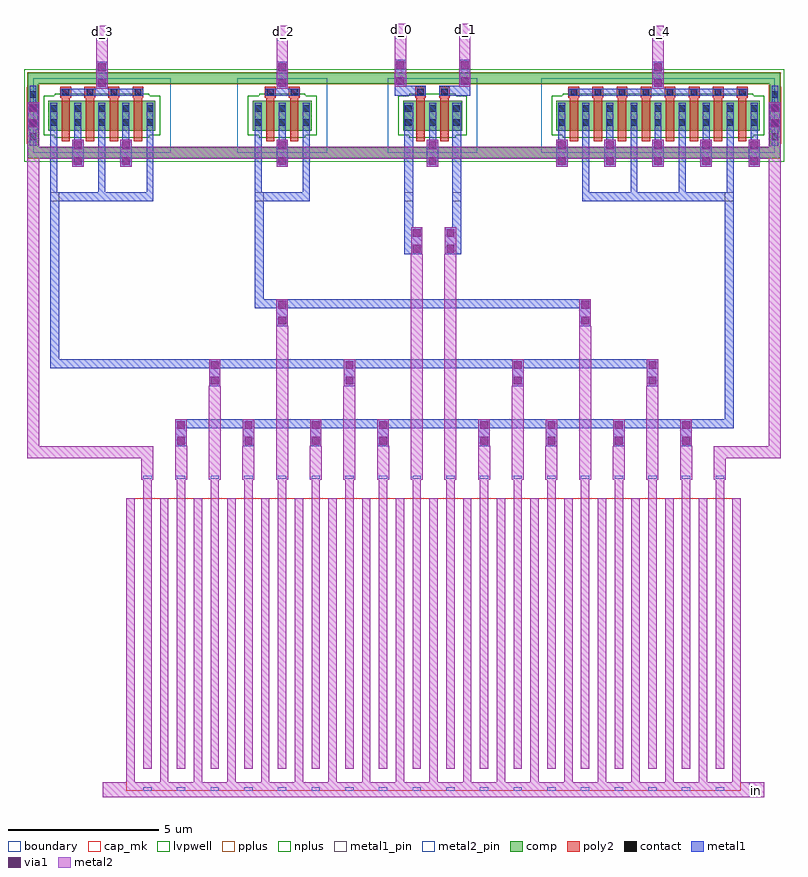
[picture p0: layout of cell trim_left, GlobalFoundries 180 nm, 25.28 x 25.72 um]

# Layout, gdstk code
import gdstk
lib = gdstk.Library(unit=1e-6, precision=1e-09)
def R(c, l, rs):  # rectangles x0, y0, x1, y1
    for r in rs: c.add(gdstk.rectangle(r[:2], r[2:], *l))
def A(c, l, x, y, w, h, nx, ny, dx, dy):  # array of equal rectangles
    R(c, l, [(x+i*dx, y+j*dy, x+i*dx+w, y+j*dy+h) for i in range(nx) for j in range(ny)])
boundary = (0, 0)
comp = (22, 0)
poly2 = (30, 0)
pplus = (31, 0)
nplus = (32, 0)
contact = (33, 0)
metal1 = (34, 0)
metal1_pin = (34, 10)
via1 = (35, 0)
metal2 = (36, 0)
metal2_pin = (36, 10)
cap_mk = (117, 5)
lvpwell = (204, 0)

trim_cap_left = lib.new_cell('trim_cap_left')
R(trim_cap_left, metal2, [(2.1,-0.72,3.5,-0.44), (2.1,-0.44,2.38,9), (2.1,-0.44,2.38,9), (3.22,-0.44,3.5,9), (3.22,-0.44,3.5,9), (2.66,0,2.94,9.75)])
R(trim_cap_left, metal2_pin, [(2.66,-0.72,2.94,-0.62), (2.66,9.65,2.94,9.75)])
R(trim_cap_left, cap_mk, [(2.1,-0.72,3.5,9)])
trim_cap_left.add(gdstk.Label('in', (2.8,9.7), layer=36, texttype=10))
trim_cap_left.add(gdstk.Label('out', (2.8,-0.67), layer=36, texttype=10))

trim_cap_array_left = lib.new_cell('trim_cap_array_left')
trim_cap_array_left.add(gdstk.Reference(trim_cap_left, (0,0)))
trim_cap_array_left.add(gdstk.Reference(trim_cap_left, (1.12,0)))
trim_cap_array_left.add(gdstk.Reference(trim_cap_left, (2.24,0)))
trim_cap_array_left.add(gdstk.Reference(trim_cap_left, (3.36,0)))
trim_cap_array_left.add(gdstk.Reference(trim_cap_left, (4.48,0)))
trim_cap_array_left.add(gdstk.Reference(trim_cap_left, (5.6,0)))
trim_cap_array_left.add(gdstk.Reference(trim_cap_left, (6.72,0)))
trim_cap_array_left.add(gdstk.Reference(trim_cap_left, (7.84,0)))
trim_cap_array_left.add(gdstk.Reference(trim_cap_left, (8.96,0)))
trim_cap_array_left.add(gdstk.Reference(trim_cap_left, (10.08,0)))
trim_cap_array_left.add(gdstk.Reference(trim_cap_left, (11.2,0)))
trim_cap_array_left.add(gdstk.Reference(trim_cap_left, (12.32,0)))
trim_cap_array_left.add(gdstk.Reference(trim_cap_left, (13.44,0)))
trim_cap_array_left.add(gdstk.Reference(trim_cap_left, (14.56,0)))
trim_cap_array_left.add(gdstk.Reference(trim_cap_left, (15.68,0)))
trim_cap_array_left.add(gdstk.Reference(trim_cap_left, (16.8,0)))
trim_cap_array_left.add(gdstk.Reference(trim_cap_left, (17.92,0)))
trim_cap_array_left.add(gdstk.Reference(trim_cap_left, (19.04,0)))

xm3_trim_left = lib.new_cell('XM3_trim_left')
R(xm3_trim_left, boundary, [(-3.71,-4.695,0.87,-2.215)])
R(xm3_trim_left, comp, [(-3.89,-4.875,2.91,-4.515), (-3.89,-4.515,-3.53,-2.395), (-3.2,-3.955,0.36,-2.955), (-3.89,-2.395,2.91,-2.035)])
A(xm3_trim_left, poly2, -2.76, -4.305, 0.28, 1.45, 4, 1, 0.8, 0)
A(xm3_trim_left, poly2, -2.8, -2.855, 0.36, 0.36, 4, 1, 0.8, 0)
R(xm3_trim_left, pplus, [(-3.91,-4.895,2.93,-4.495), (-3.91,-4.495,-3.5,-4.39), (-3.92,-4.39,-3.5,-2.52), (-3.91,-2.52,-3.5,-2.415), (-3.91,-2.415,2.93,-2.015)])
R(xm3_trim_left, nplus, [(-2.99,-4.185,0.15,-4.115), (-3.36,-4.115,0.52,-2.795), (-2.99,-2.795,0.15,-2.725)])
A(xm3_trim_left, contact, -3.82, -4.27, 0.22, 0.22, 1, 4, 0, 0.47)
A(xm3_trim_left, contact, -3.13, -3.8, 0.22, 0.22, 5, 2, 0.8, 0.47)
A(xm3_trim_left, contact, -2.73, -2.785, 0.22, 0.22, 4, 1, 0.8, 0)
A(xm3_trim_left, metal1, -3.135, -6, 0.23, 2.98, 3, 1, 1.6, 0)
A(xm3_trim_left, metal1, -2.79, -2.79, 0.34, 0.23, 4, 1, 0.8, 0)
R(xm3_trim_left, metal1, [(-2.335,-4.695,-2.105,-3.02), (-0.735,-4.695,-0.505,-3.02), (-3.825,-4.455,-3.595,-2.455)])
R(xm3_trim_left, lvpwell, [(-4.01,-4.995,3.03,-1.915)])
xm3_trim_left.add(gdstk.Label('D', (-3.02,-3.46), layer=34, texttype=0))
xm3_trim_left.add(gdstk.Label('S', (-2.22,-3.46), layer=34, texttype=0))
xm3_trim_left.add(gdstk.Label('D', (0.19,-3.47), layer=34, texttype=0))
xm3_trim_left.add(gdstk.Label('S', (-0.61,-3.47), layer=34, texttype=0))
xm3_trim_left.add(gdstk.Label('D', (-1.42,-3.46), layer=34, texttype=0))
xm3_trim_left.add(gdstk.Label('G', (-2.62,-3.46), layer=30, texttype=10))
xm3_trim_left.add(gdstk.Label('G', (-0.21,-3.47), layer=30, texttype=10))
xm3_trim_left.add(gdstk.Label('G', (-1.82,-3.46), layer=30, texttype=10))
xm3_trim_left.add(gdstk.Label('G', (-1.02,-3.46), layer=30, texttype=10))

xm4_trim_left = lib.new_cell('XM4_trim_left')
R(xm4_trim_left, boundary, [(5.54,-5.32,13.32,-2.84)])
R(xm4_trim_left, comp, [(5.36,-5.5,13.5,-5.14), (13.14,-5.14,13.5,-3.02), (6.05,-4.58,12.81,-3.58), (5.36,-3.02,13.5,-2.66)])
A(xm4_trim_left, poly2, 6.49, -4.93, 0.28, 1.45, 8, 1, 0.8, 0)
A(xm4_trim_left, poly2, 6.45, -3.48, 0.36, 0.36, 8, 1, 0.8, 0)
R(xm4_trim_left, pplus, [(5.34,-5.52,13.52,-5.12), (13.11,-5.12,13.52,-5.015), (13.11,-5.015,13.53,-3.145), (13.11,-3.145,13.52,-3.04), (5.34,-3.04,13.52,-2.64)])
R(xm4_trim_left, nplus, [(6.26,-4.81,12.6,-4.74), (5.89,-4.74,12.97,-3.42), (6.26,-3.42,12.6,-3.35)])
A(xm4_trim_left, contact, 13.21, -4.895, 0.22, 0.22, 1, 4, 0, 0.47)
A(xm4_trim_left, contact, 6.12, -4.425, 0.22, 0.22, 9, 2, 0.8, 0.47)
A(xm4_trim_left, contact, 6.52, -3.41, 0.22, 0.22, 8, 1, 0.8, 0)
A(xm4_trim_left, metal1, 6.915, -6.625, 0.23, 2.98, 4, 1, 1.6, 0)
A(xm4_trim_left, metal1, 6.115, -5.32, 0.23, 1.675, 5, 1, 1.6, 0)
A(xm4_trim_left, metal1, 6.46, -3.415, 0.34, 0.23, 8, 1, 0.8, 0)
R(xm4_trim_left, metal1, [(13.205,-5.08,13.435,-3.08)])
R(xm4_trim_left, lvpwell, [(5.24,-5.62,13.62,-2.54)])
xm4_trim_left.add(gdstk.Label('D', (11.83,-4.09), layer=34, texttype=0))
xm4_trim_left.add(gdstk.Label('S', (12.63,-4.09), layer=34, texttype=0))
xm4_trim_left.add(gdstk.Label('D', (7.01,-4.08), layer=34, texttype=0))
xm4_trim_left.add(gdstk.Label('S', (6.21,-4.08), layer=34, texttype=0))
xm4_trim_left.add(gdstk.Label('D', (8.63,-4.02), layer=34, texttype=0))
xm4_trim_left.add(gdstk.Label('S', (7.83,-4.02), layer=34, texttype=0))
xm4_trim_left.add(gdstk.Label('D', (10.23,-4.02), layer=34, texttype=0))
xm4_trim_left.add(gdstk.Label('S', (11.03,-4.02), layer=34, texttype=0))
xm4_trim_left.add(gdstk.Label('S', (9.41,-3.98), layer=34, texttype=0))
xm4_trim_left.add(gdstk.Label('G', (12.23,-4.09), layer=30, texttype=10))
xm4_trim_left.add(gdstk.Label('G', (6.61,-4.08), layer=30, texttype=10))
xm4_trim_left.add(gdstk.Label('G', (8.23,-4.02), layer=30, texttype=10))
xm4_trim_left.add(gdstk.Label('G', (10.63,-4.02), layer=30, texttype=10))
xm4_trim_left.add(gdstk.Label('G', (7.43,-4.02), layer=30, texttype=10))
xm4_trim_left.add(gdstk.Label('G', (9.83,-4.02), layer=30, texttype=10))
xm4_trim_left.add(gdstk.Label('G', (9.01,-3.98), layer=30, texttype=10))
xm4_trim_left.add(gdstk.Label('G', (11.43,-4.02), layer=30, texttype=10))

xm2_trim_left = lib.new_cell('XM2_trim_left')
R(xm2_trim_left, boundary, [(-1.695,-5.4,1.285,-2.92)])
R(xm2_trim_left, comp, [(-1.875,-5.58,3.125,-5.22), (-1.185,-4.66,0.775,-3.66), (-1.875,-3.1,3.125,-2.74)])
R(xm2_trim_left, poly2, [(-0.745,-5.01,-0.465,-3.56), (0.055,-5.01,0.335,-3.56), (-0.785,-3.56,-0.425,-3.2), (0.015,-3.56,0.375,-3.2)])
R(xm2_trim_left, pplus, [(-1.895,-5.6,3.145,-5.2), (-1.895,-3.12,3.145,-2.72)])
R(xm2_trim_left, nplus, [(-0.975,-4.89,0.565,-4.82), (-1.345,-4.82,0.935,-3.5), (-0.975,-3.5,0.565,-3.43)])
A(xm2_trim_left, contact, -1.115, -4.505, 0.22, 0.22, 3, 2, 0.8, 0.47)
R(xm2_trim_left, contact, [(-0.715,-3.49,-0.495,-3.27), (0.085,-3.49,0.305,-3.27)])
R(xm2_trim_left, metal1, [(-1.12,-6.705,-0.89,-3.725), (0.48,-6.705,0.71,-3.725), (-0.32,-5.4,-0.09,-3.725), (-0.775,-3.495,-0.435,-3.265), (0.025,-3.495,0.365,-3.265)])
R(xm2_trim_left, lvpwell, [(-1.995,-5.7,3.245,-2.62)])
xm2_trim_left.add(gdstk.Label('D', (-1.015,-4.2), layer=34, texttype=0))
xm2_trim_left.add(gdstk.Label('S', (-0.215,-4.2), layer=34, texttype=0))
xm2_trim_left.add(gdstk.Label('D', (0.59,-4.2), layer=34, texttype=0))
xm2_trim_left.add(gdstk.Label('G', (-0.615,-4.2), layer=30, texttype=10))
xm2_trim_left.add(gdstk.Label('G', (0.19,-4.2), layer=30, texttype=10))

xm1_trim_left = lib.new_cell('XM1_trim_left')
R(xm1_trim_left, boundary, [(-2.24,2.175,-0.06,4.655)])
R(xm1_trim_left, comp, [(-2.42,1.995,1.88,2.355), (-1.73,2.915,-0.57,3.915), (-2.42,4.475,1.88,4.835)])
R(xm1_trim_left, poly2, [(-1.29,2.565,-1.01,4.015), (-1.33,4.015,-0.97,4.375)])
R(xm1_trim_left, pplus, [(-2.44,1.975,1.9,2.375), (-2.44,4.455,1.9,4.855)])
R(xm1_trim_left, nplus, [(-1.55,2.685,-0.78,2.755), (-1.89,2.755,-0.41,4.075), (-1.55,4.075,-0.78,4.145)])
R(xm1_trim_left, contact, [(-1.66,3.07,-1.44,3.29), (-0.86,3.07,-0.64,3.29), (-1.66,3.54,-1.44,3.76), (-0.86,3.54,-0.64,3.76), (-1.26,4.085,-1.04,4.305)])
R(xm1_trim_left, metal1, [(-0.9,0.87,-0.6,3.85), (-1.665,2.98,-1.435,3.85), (-1.32,4.08,-0.98,4.31)])
R(xm1_trim_left, lvpwell, [(-2.54,1.875,2,4.955)])
xm1_trim_left.add(gdstk.Label('D', (-0.75,3.42), layer=34, texttype=0))
xm1_trim_left.add(gdstk.Label('S', (-1.55,3.42), layer=34, texttype=0))
xm1_trim_left.add(gdstk.Label('G', (-1.15,3.42), layer=30, texttype=10))

xm0_trim_left = lib.new_cell('XM0_trim_left')
R(xm0_trim_left, boundary, [(-2.24,2.175,-0.06,4.655)])
R(xm0_trim_left, comp, [(-2.42,1.995,0.12,2.355), (-1.73,2.915,-0.57,3.915), (-2.42,4.475,0.12,4.835)])
R(xm0_trim_left, poly2, [(-1.29,2.565,-1.01,4.015), (-1.33,4.015,-0.97,4.375)])
R(xm0_trim_left, pplus, [(-2.44,1.975,0.14,2.375), (-2.44,4.455,0.14,4.855)])
R(xm0_trim_left, nplus, [(-1.52,2.685,-0.75,2.755), (-1.89,2.755,-0.41,4.075), (-1.52,4.075,-0.75,4.145)])
R(xm0_trim_left, contact, [(-1.66,3.07,-1.44,3.29), (-0.86,3.07,-0.64,3.29), (-1.66,3.54,-1.44,3.76), (-0.86,3.54,-0.64,3.76), (-1.26,4.085,-1.04,4.305)])
R(xm0_trim_left, metal1, [(-1.7,0.87,-1.4,3.85), (-0.865,2.175,-0.635,3.85), (-1.32,4.08,-0.98,4.31)])
R(xm0_trim_left, lvpwell, [(-2.54,1.875,0.24,4.955)])
xm0_trim_left.add(gdstk.Label('D', (-1.55,3.41), layer=34, texttype=0))
xm0_trim_left.add(gdstk.Label('S', (-0.75,3.41), layer=34, texttype=0))
xm0_trim_left.add(gdstk.Label('G', (-1.15,3.41), layer=30, texttype=10))

trim_switch_left = lib.new_cell('trim_switch_left')
A(trim_switch_left, metal1, 5.11, -1.7, 0.38, 0.9, 5, 1, 1.6, 0)
A(trim_switch_left, metal1, 5.11, -1.7, 0.23, 0.87, 5, 1, 1.6, 0)
R(trim_switch_left, metal1, [(-11.715,-2.845,-8.285,-2.545), (-4.915,-2.845,-3.085,-2.545), (5.985,-2.845,11.015,-2.545), (-10.99,-1.7,-10.61,-0.8), (-10.99,-1.7,-10.76,-0.83), (-9.39,-1.7,-9.01,-0.8), (-9.39,-1.7,-9.16,-0.83), (-4.19,-1.7,-3.81,-0.8), (-4.19,-1.7,-3.96,-0.83), (0.81,-1.7,1.19,-0.8), (0.81,-1.7,1.04,-0.83), (-12.48,-0.45,-12.1,0.45), (-12.48,-0.45,-12.25,0.42), (12.2,-0.45,12.58,0.45), (12.2,-0.45,12.43,0.42), (-11.37,0.665,-8.63,0.895), (-4.57,0.665,-3.43,0.895), (-0.26,0.665,0.77,1), (1.23,0.665,2.26,1), (5.53,0.665,11.47,0.895), (-10.19,0.895,-9.81,1.795), (-10.19,0.895,-9.96,1.765), (-4.19,0.895,-3.81,1.795), (-4.19,0.895,-3.96,1.765), (8.31,0.895,8.69,1.795), (8.31,0.895,8.54,1.765), (-0.26,0.96,0.12,1.86), (-0.26,0.96,-0.03,1.83), (1.88,0.96,2.26,1.86), (1.88,0.96,2.11,1.83)])
R(trim_switch_left, metal1_pin, [(-11.715,-2.845,-11.415,-2.545), (-4.915,-2.845,-4.615,-2.545), (0.05,-2.845,0.35,-2.545), (1.65,-2.845,1.95,-2.545), (10.715,-2.845,11.015,-2.545)])
A(trim_switch_left, via1, 5.17, -1.64, 0.26, 0.26, 5, 2, 1.6, 0.52)
R(trim_switch_left, via1, [(-10.93,-1.64,-10.67,-1.38), (-9.33,-1.64,-9.07,-1.38), (-4.13,-1.64,-3.87,-1.38), (0.87,-1.64,1.13,-1.38), (-10.93,-1.12,-10.67,-0.86), (-9.33,-1.12,-9.07,-0.86), (-4.13,-1.12,-3.87,-0.86), (0.87,-1.12,1.13,-0.86), (-12.42,-0.39,-12.16,-0.13), (12.26,-0.39,12.52,-0.13), (-12.42,0.13,-12.16,0.39), (12.26,0.13,12.52,0.39), (-10.13,0.955,-9.87,1.215), (-4.13,0.955,-3.87,1.215), (8.37,0.955,8.63,1.215), (-0.2,1.02,0.06,1.28), (1.94,1.02,2.2,1.28), (-10.13,1.475,-9.87,1.735), (-4.13,1.475,-3.87,1.735), (8.37,1.475,8.63,1.735), (-0.2,1.54,0.06,1.8), (1.94,1.54,2.2,1.8)])
A(trim_switch_left, metal2, 5.11, -1.7, 0.38, 0.9, 5, 1, 1.6, 0)
R(trim_switch_left, metal2, [(-12.48,-2.845,-12.09,0.45), (12.19,-2.845,12.58,0.45), (-10.99,-1.7,-10.61,-0.8), (-9.39,-1.7,-9.01,-0.8), (-4.19,-1.7,-3.81,-0.8), (0.81,-1.7,1.19,-0.8), (-12.48,-0.45,-12.1,0.45), (12.2,-0.45,12.58,0.45), (-10.19,0.895,-9.81,1.795), (-10.19,0.895,-9.81,2.985), (-4.19,0.895,-3.81,1.795), (-4.19,0.895,-3.81,2.985), (8.31,0.895,8.69,1.795), (8.31,0.895,8.69,2.985), (-0.26,0.96,0.12,1.86), (-0.26,0.96,0.12,3.05), (1.88,0.96,2.26,1.86), (1.88,0.96,2.26,3.05)])
trim_switch_left.add(gdstk.FlexPath([(-12.29,0),(-12.29,-1.23),(12.39,-1.23),(12.39,0)], 0.4, ends="flush", simple_path=True, layer=36, datatype=0))  # metal2
trim_switch_left.add(gdstk.Reference(xm3_trim_left, (-8.58,3.455)))
trim_switch_left.add(gdstk.Reference(xm4_trim_left, (-0.93,4.08)))
trim_switch_left.add(gdstk.Reference(xm2_trim_left, (-3.795,4.16)))
trim_switch_left.add(gdstk.Reference(xm1_trim_left, (2.55,-3.415)))
trim_switch_left.add(gdstk.Reference(xm0_trim_left, (1.75,-3.415)))
trim_switch_left.add(gdstk.Label('n4', (10.865,-2.715), layer=34, texttype=10))
trim_switch_left.add(gdstk.Label('n1', (1.8,-2.715), layer=34, texttype=10))
trim_switch_left.add(gdstk.Label('n0', (0.2,-2.715), layer=34, texttype=10))
trim_switch_left.add(gdstk.Label('n2', (-4.765,-2.685), layer=34, texttype=10))
trim_switch_left.add(gdstk.Label('n3', (-11.565,-2.685), layer=34, texttype=10))

trim_left = lib.new_cell('trim_left')
A(trim_left, metal1, -8.59, 6.21, 0.38, 0.9, 4, 1, 2.24, 0)
A(trim_left, metal1, -8.59, 6.21, 0.23, 0.87, 4, 1, 2.24, 0)
A(trim_left, metal1, 1.49, 6.21, 0.38, 0.9, 4, 1, 2.24, 0)
A(trim_left, metal1, 1.64, 6.21, 0.23, 0.87, 4, 1, 2.24, 0)
R(trim_left, metal1, [(-8.59,6.81,8.59,7.11), (8.59,6.81,9.98,7.11), (9.68,6.81,9.98,14.67), (-7.47,8.21,-7.09,9.11), (-7.47,8.21,-7.09,9.11), (-7.47,8.21,-7.24,9.08), (-7.47,8.21,-7.24,9.08), (-2.99,8.21,-2.61,9.11), (-2.99,8.21,-2.76,9.08), (2.61,8.21,2.99,9.11), (2.76,8.21,2.99,9.08), (7.09,8.21,7.47,9.11), (7.09,8.21,7.47,9.11), (7.24,8.21,7.47,9.08), (7.24,8.21,7.47,9.08), (-12.75,8.81,-12.45,14.67), (-12.75,8.81,-6,9.11), (-7.47,8.81,7.47,9.11), (-5.23,10.21,-4.85,11.11), (-5.23,10.21,-5,11.08), (4.85,10.21,5.23,11.11), (5,10.21,5.23,11.08), (-5.95,10.81,-4.85,11.11), (-5.95,10.81,-5.65,14.67), (-5.23,10.81,5.23,11.11), (-0.985,12.6,-0.685,15.675), (-0.75,12.6,-0.37,13.5), (-0.75,12.6,-0.52,13.47), (0.37,12.6,0.75,13.5), (0.52,12.6,0.75,13.47), (0.615,12.6,0.915,15.675), (-12.75,14.37,-9.32,14.67), (-5.95,14.37,-4.12,14.67), (4.95,14.37,9.98,14.67)])
A(trim_left, via1, -8.53, 6.27, 0.26, 0.26, 4, 2, 2.24, 0.52)
A(trim_left, via1, 1.55, 6.27, 0.26, 0.26, 4, 2, 2.24, 0.52)
R(trim_left, via1, [(-7.41,8.27,-7.15,8.53), (-7.41,8.27,-7.15,8.53), (-2.93,8.27,-2.67,8.53), (2.67,8.27,2.93,8.53), (7.15,8.27,7.41,8.53), (7.15,8.27,7.41,8.53), (-7.41,8.79,-7.15,9.05), (-7.41,8.79,-7.15,9.05), (-2.93,8.79,-2.67,9.05), (2.67,8.79,2.93,9.05), (7.15,8.79,7.41,9.05), (7.15,8.79,7.41,9.05), (-5.17,10.27,-4.91,10.53), (4.91,10.27,5.17,10.53), (-5.17,10.79,-4.91,11.05), (4.91,10.79,5.17,11.05), (-0.69,12.66,-0.43,12.92), (0.43,12.66,0.69,12.92), (-0.69,13.18,-0.43,13.44), (0.43,13.18,0.69,13.44)])
A(trim_left, metal2, -8.6, 5.1, 0.4, 1.11, 4, 1, 2.24, 0)
A(trim_left, metal2, 1.48, 5.1, 0.4, 1.11, 4, 1, 2.24, 0)
A(trim_left, metal2, -8.59, 6.21, 0.38, 0.9, 4, 1, 2.24, 0)
A(trim_left, metal2, 1.49, 6.21, 0.38, 0.9, 4, 1, 2.24, 0)
R(trim_left, metal2, [(-11,-5.455,11,-4.955), (-9.72,5.1,-9.32,6.21), (-7.48,5.1,-7.08,8.21), (-5.24,5.1,-4.84,10.21), (-3,5.1,-2.6,8.21), (-0.76,5.1,-0.36,12.6), (0.36,5.1,0.76,12.6), (2.6,5.1,3,8.21), (4.84,5.1,5.24,10.21), (7.08,5.1,7.48,8.21), (9.32,5.1,9.72,6.21), (-13.515,5.81,-9.32,6.21), (-13.515,5.81,-13.125,17.665), (9.32,5.81,11.545,6.21), (11.155,5.81,11.545,17.665), (-7.47,8.21,-7.09,9.11), (-7.47,8.21,-7.09,9.11), (-2.99,8.21,-2.61,9.11), (2.61,8.21,2.99,9.11), (7.09,8.21,7.47,9.11), (7.09,8.21,7.47,9.11), (-5.23,10.21,-4.85,11.11), (4.85,10.21,5.23,11.11), (-0.75,12.6,-0.37,13.5), (0.37,12.6,0.75,13.5)])
R(trim_left, metal2_pin, [(10.5,-5.455,11,-4.955), (-11.225,19.7,-10.845,20.2), (-5.225,19.7,-4.845,20.2), (7.275,19.7,7.655,20.2), (-1.295,19.765,-0.915,20.265), (0.845,19.765,1.225,20.265)])
trim_left.add(gdstk.Reference(trim_cap_array_left, (-12.32,-4.515)))
trim_left.add(gdstk.Reference(trim_switch_left, (-1.035,17.215)))
trim_left.add(gdstk.Label('in', (10.75,-5.25), layer=36, texttype=10))
trim_left.add(gdstk.Label('d_4', (7.5,20), layer=36, texttype=10))
trim_left.add(gdstk.Label('d_1', (1.07,20.065), layer=36, texttype=10))
trim_left.add(gdstk.Label('d_0', (-1.07,20.065), layer=36, texttype=10))
trim_left.add(gdstk.Label('d_2', (-5,20), layer=36, texttype=10))
trim_left.add(gdstk.Label('d_3', (-11,20), layer=36, texttype=10))

lib.write_gds('trim_left.gds')
